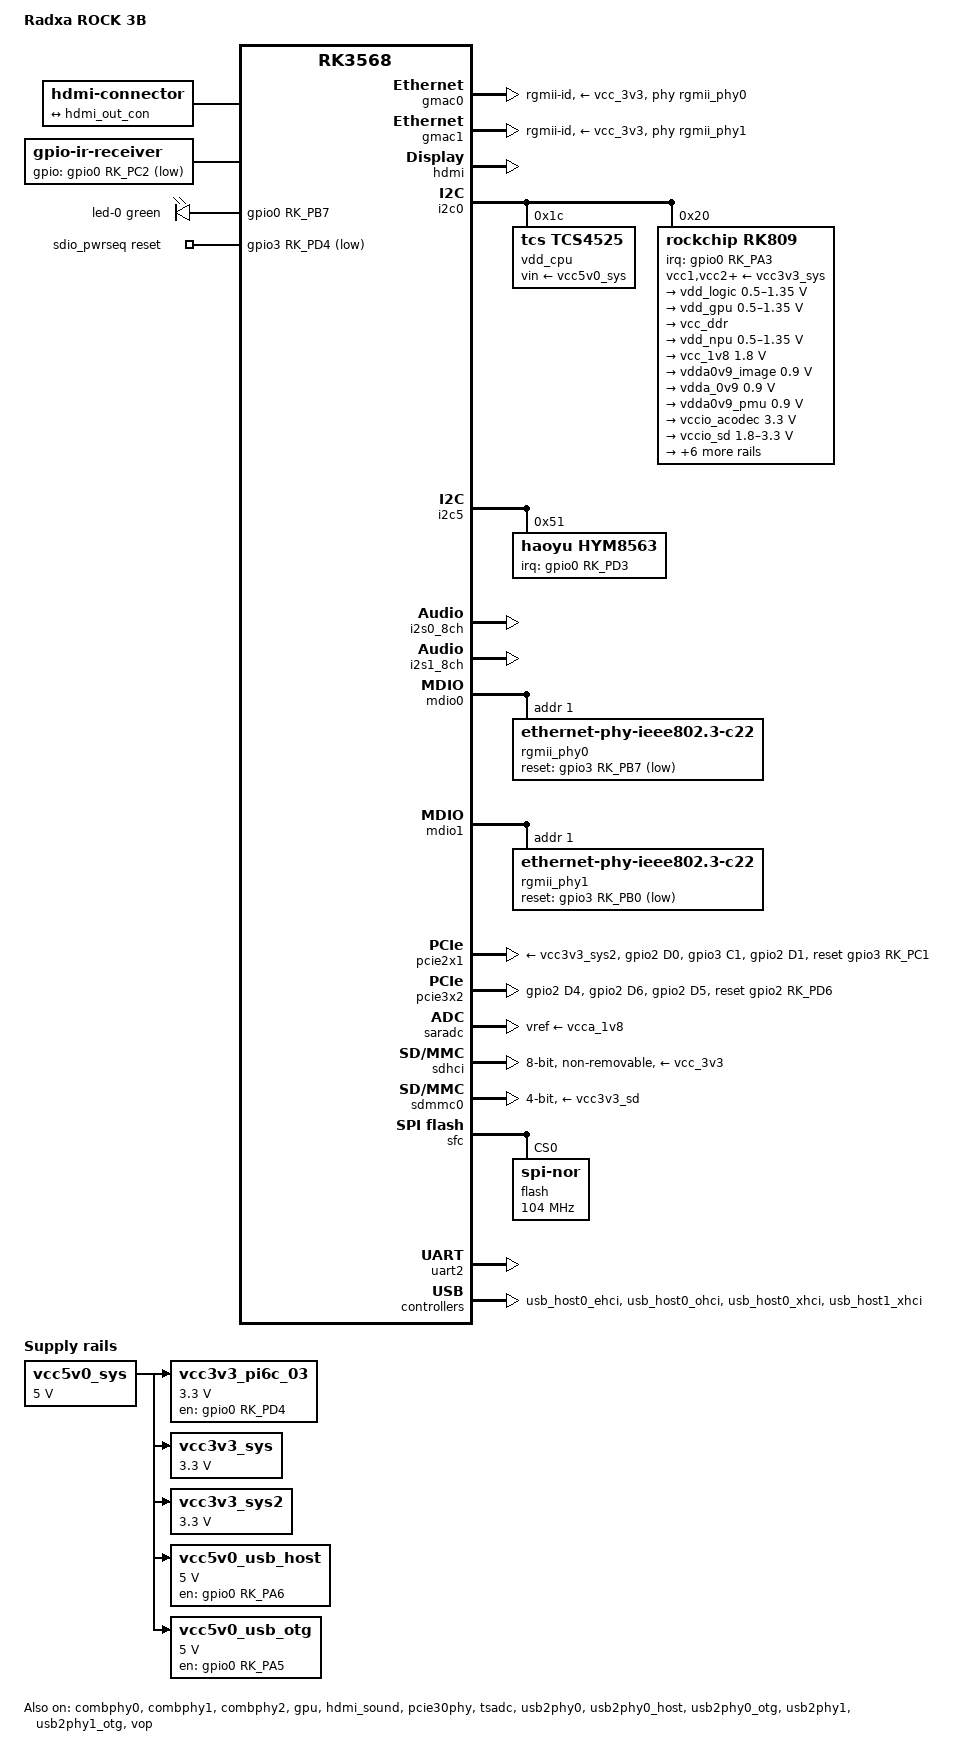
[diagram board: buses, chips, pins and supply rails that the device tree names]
// SPDX-License-Identifier: (GPL-2.0+ OR MIT)

/dts-v1/;

#include <dt-bindings/gpio/gpio.h>
#include <dt-bindings/leds/common.h>
#include <dt-bindings/pinctrl/rockchip.h>
#include <dt-bindings/soc/rockchip,vop2.h>
#include "rk3568.dtsi"

/ {
	model = "Radxa ROCK 3B";
	compatible = "radxa,rock-3b", "rockchip,rk3568";

	aliases {
		ethernet0 = &gmac0;
		ethernet1 = &gmac1;
		mmc0 = &sdhci;
		mmc1 = &sdmmc0;
		mmc2 = &sdmmc2;
	};

	chosen {
		stdout-path = "serial2:1500000n8";
	};

	hdmi-con {
		compatible = "hdmi-connector";
		type = "a";

		port {
			hdmi_con_in: endpoint {
				remote-endpoint = <&hdmi_out_con>;
			};
		};
	};

	ir-receiver {
		compatible = "gpio-ir-receiver";
		gpios = <&gpio0 RK_PC2 GPIO_ACTIVE_LOW>;
		pinctrl-names = "default";
		pinctrl-0 = <&pwm3_ir>;
	};

	leds {
		compatible = "gpio-leds";
		pinctrl-names = "default";
		pinctrl-0 = <&led>;

		led-0 {
			color = <LED_COLOR_ID_GREEN>;
			default-state = "on";
			function = LED_FUNCTION_HEARTBEAT;
			gpios = <&gpio0 RK_PB7 GPIO_ACTIVE_HIGH>;
			linux,default-trigger = "heartbeat";
		};
	};

	/* pi6c pcie clock generator */
	vcc3v3_pi6c_03: regulator-3v3-vcc-pi6c-03 {
		compatible = "regulator-fixed";
		enable-active-high;
		gpios = <&gpio0 RK_PD4 GPIO_ACTIVE_HIGH>;
		pinctrl-names = "default";
		pinctrl-0 = <&pcie_pwren_h>;
		regulator-name = "vcc3v3_pi6c_03";
		regulator-always-on;
		regulator-boot-on;
		regulator-min-microvolt = <3300000>;
		regulator-max-microvolt = <3300000>;
		startup-delay-us = <10000>;
		vin-supply = <&vcc5v0_sys>;
	};

	vcc3v3_sys: regulator-3v3-vcc-sys {
		compatible = "regulator-fixed";
		regulator-name = "vcc3v3_sys";
		regulator-always-on;
		regulator-boot-on;
		regulator-min-microvolt = <3300000>;
		regulator-max-microvolt = <3300000>;
		vin-supply = <&vcc5v0_sys>;
	};

	vcc3v3_sys2: regulator-3v3-vcc-sys2 {
		compatible = "regulator-fixed";
		regulator-name = "vcc3v3_sys2";
		regulator-always-on;
		regulator-boot-on;
		regulator-min-microvolt = <3300000>;
		regulator-max-microvolt = <3300000>;
		vin-supply = <&vcc5v0_sys>;
	};

	vcc5v0_sys: regulator-5v0-vcc-sys {
		compatible = "regulator-fixed";
		regulator-name = "vcc5v0_sys";
		regulator-always-on;
		regulator-boot-on;
		regulator-min-microvolt = <5000000>;
		regulator-max-microvolt = <5000000>;
	};

	vcc5v0_usb_host: regulator-5v0-vcc-usb-host {
		compatible = "regulator-fixed";
		enable-active-high;
		gpios = <&gpio0 RK_PA6 GPIO_ACTIVE_HIGH>;
		pinctrl-names = "default";
		pinctrl-0 = <&usb_host_pwren_h>;
		regulator-name = "vcc5v0_usb_host";
		regulator-min-microvolt = <5000000>;
		regulator-max-microvolt = <5000000>;
		vin-supply = <&vcc5v0_sys>;
	};

	vcc5v0_usb_otg: regulator-5v0-vcc-usb-otg {
		compatible = "regulator-fixed";
		enable-active-high;
		gpios = <&gpio0 RK_PA5 GPIO_ACTIVE_HIGH>;
		pinctrl-names = "default";
		pinctrl-0 = <&usb_otg_pwren_h>;
		regulator-name = "vcc5v0_usb_otg";
		regulator-min-microvolt = <5000000>;
		regulator-max-microvolt = <5000000>;
		vin-supply = <&vcc5v0_sys>;
	};

	sdio_pwrseq: sdio-pwrseq {
		compatible = "mmc-pwrseq-simple";
		clocks = <&rk809 1>;
		clock-names = "ext_clock";
		pinctrl-names = "default";
		pinctrl-0 = <&wifi_reg_on_h>;
		post-power-on-delay-ms = <100>;
		power-off-delay-us = <5000000>;
		reset-gpios = <&gpio3 RK_PD4 GPIO_ACTIVE_LOW>;
	};

	sound {
		compatible = "simple-audio-card";
		simple-audio-card,format = "i2s";
		simple-audio-card,name = "Analog RK809";
		simple-audio-card,mclk-fs = <256>;

		simple-audio-card,cpu {
			sound-dai = <&i2s1_8ch>;
		};

		simple-audio-card,codec {
			sound-dai = <&rk809>;
		};
	};
};

&combphy0 {
	status = "okay";
};

&combphy1 {
	status = "okay";
};

&combphy2 {
	status = "okay";
};

&cpu0 {
	cpu-supply = <&vdd_cpu>;
};

&cpu1 {
	cpu-supply = <&vdd_cpu>;
};

&cpu2 {
	cpu-supply = <&vdd_cpu>;
};

&cpu3 {
	cpu-supply = <&vdd_cpu>;
};

&gmac0 {
	assigned-clocks = <&cru SCLK_GMAC0_RX_TX>, <&cru SCLK_GMAC0>;
	assigned-clock-parents = <&cru SCLK_GMAC0_RGMII_SPEED>, <&cru CLK_MAC0_2TOP>;
	clock_in_out = "input";
	phy-handle = <&rgmii_phy0>;
	phy-mode = "rgmii-id";
	phy-supply = <&vcc_3v3>;
	pinctrl-names = "default";
	pinctrl-0 = <&gmac0_miim
		     &gmac0_tx_bus2
		     &gmac0_rx_bus2
		     &gmac0_rgmii_clk
		     &gmac0_rgmii_bus
		     &gmac0_clkinout>;
	status = "okay";
};

&gmac1 {
	assigned-clocks = <&cru SCLK_GMAC1_RX_TX>, <&cru SCLK_GMAC1>;
	assigned-clock-parents = <&cru SCLK_GMAC1_RGMII_SPEED>, <&cru CLK_MAC1_2TOP>;
	clock_in_out = "input";
	phy-handle = <&rgmii_phy1>;
	phy-mode = "rgmii-id";
	phy-supply = <&vcc_3v3>;
	pinctrl-names = "default";
	pinctrl-0 = <&gmac1m1_miim
		     &gmac1m1_tx_bus2
		     &gmac1m1_rx_bus2
		     &gmac1m1_rgmii_clk
		     &gmac1m1_rgmii_bus
		     &gmac1m1_clkinout>;
	status = "okay";
};

&gpu {
	mali-supply = <&vdd_gpu>;
	status = "okay";
};

&hdmi {
	avdd-0v9-supply = <&vdda0v9_image>;
	avdd-1v8-supply = <&vcca1v8_image>;
	status = "okay";
};

&hdmi_in {
	hdmi_in_vp0: endpoint {
		remote-endpoint = <&vp0_out_hdmi>;
	};
};

&hdmi_out {
	hdmi_out_con: endpoint {
		remote-endpoint = <&hdmi_con_in>;
	};
};

&hdmi_sound {
	status = "okay";
};

&i2c0 {
	status = "okay";

	vdd_cpu: regulator@1c {
		compatible = "tcs,tcs4525";
		reg = <0x1c>;
		fcs,suspend-voltage-selector = <1>;
		regulator-name = "vdd_cpu";
		regulator-always-on;
		regulator-boot-on;
		regulator-min-microvolt = <800000>;
		regulator-max-microvolt = <1150000>;
		regulator-ramp-delay = <2300>;
		vin-supply = <&vcc5v0_sys>;

		regulator-state-mem {
			regulator-off-in-suspend;
		};
	};

	rk809: pmic@20 {
		compatible = "rockchip,rk809";
		reg = <0x20>;
		assigned-clocks = <&cru I2S1_MCLKOUT_TX>;
		assigned-clock-parents = <&cru CLK_I2S1_8CH_TX>;
		#clock-cells = <1>;
		clocks = <&cru I2S1_MCLKOUT_TX>;
		clock-names = "mclk";
		clock-output-names = "rk809-clkout1", "rk809-clkout2";
		interrupt-parent = <&gpio0>;
		interrupts = <RK_PA3 IRQ_TYPE_LEVEL_LOW>;
		pinctrl-names = "default";
		pinctrl-0 = <&pmic_int_l>, <&i2s1m0_mclk>;
		#sound-dai-cells = <0>;
		system-power-controller;
		wakeup-source;

		vcc1-supply = <&vcc3v3_sys>;
		vcc2-supply = <&vcc3v3_sys>;
		vcc3-supply = <&vcc3v3_sys>;
		vcc4-supply = <&vcc3v3_sys>;
		vcc5-supply = <&vcc3v3_sys>;
		vcc6-supply = <&vcc3v3_sys>;
		vcc7-supply = <&vcc3v3_sys>;
		vcc8-supply = <&vcc3v3_sys>;
		vcc9-supply = <&vcc3v3_sys>;

		regulators {
			vdd_logic: DCDC_REG1 {
				regulator-name = "vdd_logic";
				regulator-always-on;
				regulator-boot-on;
				regulator-initial-mode = <0x2>;
				regulator-min-microvolt = <500000>;
				regulator-max-microvolt = <1350000>;
				regulator-ramp-delay = <6001>;

				regulator-state-mem {
					regulator-off-in-suspend;
				};
			};

			vdd_gpu: DCDC_REG2 {
				regulator-name = "vdd_gpu";
				regulator-always-on;
				regulator-boot-on;
				regulator-initial-mode = <0x2>;
				regulator-min-microvolt = <500000>;
				regulator-max-microvolt = <1350000>;
				regulator-ramp-delay = <6001>;

				regulator-state-mem {
					regulator-off-in-suspend;
				};
			};

			vcc_ddr: DCDC_REG3 {
				regulator-name = "vcc_ddr";
				regulator-always-on;
				regulator-boot-on;
				regulator-initial-mode = <0x2>;

				regulator-state-mem {
					regulator-on-in-suspend;
				};
			};

			vdd_npu: DCDC_REG4 {
				regulator-name = "vdd_npu";
				regulator-initial-mode = <0x2>;
				regulator-min-microvolt = <500000>;
				regulator-max-microvolt = <1350000>;
				regulator-ramp-delay = <6001>;

				regulator-state-mem {
					regulator-off-in-suspend;
				};
			};

			vcc_1v8: DCDC_REG5 {
				regulator-name = "vcc_1v8";
				regulator-always-on;
				regulator-boot-on;
				regulator-min-microvolt = <1800000>;
				regulator-max-microvolt = <1800000>;

				regulator-state-mem {
					regulator-off-in-suspend;
				};
			};

			vdda0v9_image: LDO_REG1 {
				regulator-name = "vdda0v9_image";
				regulator-min-microvolt = <900000>;
				regulator-max-microvolt = <900000>;

				regulator-state-mem {
					regulator-off-in-suspend;
				};
			};

			vdda_0v9: LDO_REG2 {
				regulator-name = "vdda_0v9";
				regulator-always-on;
				regulator-boot-on;
				regulator-min-microvolt = <900000>;
				regulator-max-microvolt = <900000>;

				regulator-state-mem {
					regulator-off-in-suspend;
				};
			};

			vdda0v9_pmu: LDO_REG3 {
				regulator-name = "vdda0v9_pmu";
				regulator-always-on;
				regulator-boot-on;
				regulator-min-microvolt = <900000>;
				regulator-max-microvolt = <900000>;

				regulator-state-mem {
					regulator-on-in-suspend;
					regulator-suspend-microvolt = <900000>;
				};
			};

			vccio_acodec: LDO_REG4 {
				regulator-name = "vccio_acodec";
				regulator-always-on;
				regulator-boot-on;
				regulator-min-microvolt = <3300000>;
				regulator-max-microvolt = <3300000>;

				regulator-state-mem {
					regulator-off-in-suspend;
				};
			};

			vccio_sd: LDO_REG5 {
				regulator-name = "vccio_sd";
				regulator-always-on;
				regulator-boot-on;
				regulator-min-microvolt = <1800000>;
				regulator-max-microvolt = <3300000>;

				regulator-state-mem {
					regulator-off-in-suspend;
				};
			};

			vcc3v3_pmu: LDO_REG6 {
				regulator-name = "vcc3v3_pmu";
				regulator-always-on;
				regulator-boot-on;
				regulator-min-microvolt = <3300000>;
				regulator-max-microvolt = <3300000>;

				regulator-state-mem {
					regulator-on-in-suspend;
					regulator-suspend-microvolt = <3300000>;
				};
			};

			vcca_1v8: LDO_REG7 {
				regulator-name = "vcca_1v8";
				regulator-always-on;
				regulator-boot-on;
				regulator-min-microvolt = <1800000>;
				regulator-max-microvolt = <1800000>;

				regulator-state-mem {
					regulator-off-in-suspend;
				};
			};

			vcca1v8_pmu: LDO_REG8 {
				regulator-name = "vcca1v8_pmu";
				regulator-always-on;
				regulator-boot-on;
				regulator-min-microvolt = <1800000>;
				regulator-max-microvolt = <1800000>;

				regulator-state-mem {
					regulator-on-in-suspend;
					regulator-suspend-microvolt = <1800000>;
				};
			};

			vcca1v8_image: LDO_REG9 {
				regulator-name = "vcca1v8_image";
				regulator-min-microvolt = <1800000>;
				regulator-max-microvolt = <1800000>;

				regulator-state-mem {
					regulator-off-in-suspend;
				};
			};

			vcc_3v3: SWITCH_REG1 {
				regulator-name = "vcc_3v3";
				regulator-always-on;
				regulator-boot-on;

				regulator-state-mem {
					regulator-off-in-suspend;
				};
			};

			vcc3v3_sd: SWITCH_REG2 {
				regulator-name = "vcc3v3_sd";
				regulator-always-on;
				regulator-boot-on;

				regulator-state-mem {
					regulator-off-in-suspend;
				};
			};
		};
	};
};

&i2c5 {
	status = "okay";

	hym8563: rtc@51 {
		compatible = "haoyu,hym8563";
		reg = <0x51>;
		interrupt-parent = <&gpio0>;
		interrupts = <RK_PD3 IRQ_TYPE_LEVEL_LOW>;
		#clock-cells = <0>;
		clock-output-names = "rtcic_32kout";
		pinctrl-names = "default";
		pinctrl-0 = <&rtcic_int_l>;
		wakeup-source;
	};
};

&i2s0_8ch {
	status = "okay";
};

&i2s1_8ch {
	pinctrl-names = "default";
	pinctrl-0 = <&i2s1m0_sclktx
		     &i2s1m0_lrcktx
		     &i2s1m0_sdi0
		     &i2s1m0_sdo0>;
	rockchip,trcm-sync-tx-only;
	status = "okay";
};

&mdio0 {
	rgmii_phy0: ethernet-phy@1 {
		compatible = "ethernet-phy-ieee802.3-c22";
		reg = <1>;
		reset-assert-us = <20000>;
		reset-deassert-us = <50000>;
		reset-gpios = <&gpio3 RK_PB7 GPIO_ACTIVE_LOW>;
	};
};

&mdio1 {
	rgmii_phy1: ethernet-phy@1 {
		compatible = "ethernet-phy-ieee802.3-c22";
		reg = <1>;
		reset-assert-us = <20000>;
		reset-deassert-us = <50000>;
		reset-gpios = <&gpio3 RK_PB0 GPIO_ACTIVE_LOW>;
	};
};

&pcie2x1 {
	pinctrl-names = "default";
	pinctrl-0 = <&pcie20m1_pins>;
	reset-gpios = <&gpio3 RK_PC1 GPIO_ACTIVE_HIGH>;
	vpcie3v3-supply = <&vcc3v3_sys2>;
	status = "okay";
};

&pcie30phy {
	status = "okay";
};

&pcie3x2 {
	pinctrl-names = "default";
	pinctrl-0 = <&pcie30x2m1_pins>;
	reset-gpios = <&gpio2 RK_PD6 GPIO_ACTIVE_HIGH>;
	status = "okay";
};

&pinctrl {
	bluetooth {
		bt_reg_on_h: bt-reg-on-h {
			rockchip,pins = <4 RK_PB2 RK_FUNC_GPIO &pcfg_pull_none>;
		};

		bt_wake_host_h: bt-wake-host-h {
			rockchip,pins = <4 RK_PB4 RK_FUNC_GPIO &pcfg_pull_none>;
		};

		host_wake_bt_h: host-wake-bt-h {
			rockchip,pins = <4 RK_PB5 RK_FUNC_GPIO &pcfg_pull_none>;
		};
	};

	ir-receiver {
		pwm3_ir: pwm3-ir {
			rockchip,pins = <0 RK_PC2 RK_FUNC_GPIO &pcfg_pull_none>;
		};
	};

	leds {
		led: led {
			rockchip,pins = <0 RK_PB7 RK_FUNC_GPIO &pcfg_pull_none>;
		};
	};

	pcie {
		pcie_pwren_h: pcie-pwren-h {
			rockchip,pins = <0 RK_PD4 RK_FUNC_GPIO &pcfg_pull_none>;
		};
	};

	pcie20 {
		pcie20m1_pins: pcie20m1-pins {
			rockchip,pins =
				<2 RK_PD0 4 &pcfg_pull_none>,
				<3 RK_PC1 RK_FUNC_GPIO &pcfg_pull_none>,
				<2 RK_PD1 4 &pcfg_pull_none>;
		};
	};

	pcie30x2 {
		pcie30x2m1_pins: pcie30x2m1-pins {
			rockchip,pins =
				<2 RK_PD4 4 &pcfg_pull_none>,
				<2 RK_PD6 RK_FUNC_GPIO &pcfg_pull_none>,
				<2 RK_PD5 4 &pcfg_pull_none>;
		};
	};

	pmic {
		pmic_int_l: pmic-int-l {
			rockchip,pins = <0 RK_PA3 RK_FUNC_GPIO &pcfg_pull_up>;
		};
	};

	rtc {
		rtcic_int_l: rtcic-int-l {
			rockchip,pins = <0 RK_PD3 RK_FUNC_GPIO &pcfg_pull_up>;
		};
	};

	usb {
		usb_host_pwren_h: usb-host-pwren-h {
			rockchip,pins = <0 RK_PA6 RK_FUNC_GPIO &pcfg_pull_none>;
		};

		usb_otg_pwren_h: usb-otg-pwren-h {
			rockchip,pins = <0 RK_PA5 RK_FUNC_GPIO &pcfg_pull_none>;
		};
	};

	wifi {
		wifi_reg_on_h: wifi-reg-on-h {
			rockchip,pins = <3 RK_PD4 RK_FUNC_GPIO &pcfg_pull_none>;
		};

		wifi_wake_host_h: wifi-wake-host-h {
			rockchip,pins = <3 RK_PD5 RK_FUNC_GPIO &pcfg_pull_none>;
		};
	};
};

&pmu_io_domains {
	pmuio1-supply = <&vcc3v3_pmu>;
	pmuio2-supply = <&vcc3v3_pmu>;
	vccio1-supply = <&vccio_acodec>;
	vccio2-supply = <&vcc_1v8>;
	vccio3-supply = <&vccio_sd>;
	vccio4-supply = <&vcc_1v8>;
	vccio5-supply = <&vcc_3v3>;
	vccio6-supply = <&vcc_1v8>;
	vccio7-supply = <&vcc_3v3>;
	status = "okay";
};

&saradc {
	vref-supply = <&vcca_1v8>;
	status = "okay";
};

&sdhci {
	bus-width = <8>;
	cap-mmc-highspeed;
	max-frequency = <200000000>;
	mmc-hs200-1_8v;
	non-removable;
	pinctrl-names = "default";
	pinctrl-0 = <&emmc_bus8 &emmc_clk &emmc_cmd &emmc_datastrobe>;
	vmmc-supply = <&vcc_3v3>;
	vqmmc-supply = <&vcc_1v8>;
	status = "okay";
};

&sdmmc0 {
	bus-width = <4>;
	cap-sd-highspeed;
	disable-wp;
	pinctrl-names = "default";
	pinctrl-0 = <&sdmmc0_bus4 &sdmmc0_clk &sdmmc0_cmd &sdmmc0_det>;
	vmmc-supply = <&vcc3v3_sd>;
	vqmmc-supply = <&vccio_sd>;
	status = "okay";
};

&sdmmc2 {
	bus-width = <4>;
	cap-sd-highspeed;
	cap-sdio-irq;
	keep-power-in-suspend;
	mmc-pwrseq = <&sdio_pwrseq>;
	non-removable;
	pinctrl-names = "default";
	pinctrl-0 = <&sdmmc2m0_bus4 &sdmmc2m0_clk &sdmmc2m0_cmd>;
	sd-uhs-sdr104;
	vmmc-supply = <&vcc3v3_sys2>;
	vqmmc-supply = <&vcc_1v8>;
	status = "disabled";
};

&sfc {
	#address-cells = <1>;
	#size-cells = <0>;
	status = "okay";

	flash@0 {
		compatible = "jedec,spi-nor";
		reg = <0>;
		spi-max-frequency = <104000000>;
		spi-rx-bus-width = <4>;
		spi-tx-bus-width = <1>;
	};
};

&tsadc {
	rockchip,hw-tshut-mode = <1>;
	rockchip,hw-tshut-polarity = <0>;
	status = "okay";
};

&uart2 {
	status = "okay";
};

&uart8 {
	pinctrl-names = "default";
	pinctrl-0 = <&uart8m0_xfer &uart8m0_ctsn &uart8m0_rtsn>;
	uart-has-rtscts;
	status = "disabled";
};

&usb_host0_ehci {
	status = "okay";
};

&usb_host0_ohci {
	status = "okay";
};

&usb_host0_xhci {
	extcon = <&usb2phy0>;
	status = "okay";
};

&usb_host1_xhci {
	status = "okay";
};

&usb2phy0 {
	status = "okay";
};

&usb2phy0_host {
	phy-supply = <&vcc5v0_usb_host>;
	status = "okay";
};

&usb2phy0_otg {
	phy-supply = <&vcc5v0_usb_otg>;
	status = "okay";
};

&usb2phy1 {
	status = "okay";
};

&usb2phy1_otg {
	phy-supply = <&vcc5v0_usb_host>;
	status = "okay";
};

&vop {
	assigned-clocks = <&cru DCLK_VOP0>, <&cru DCLK_VOP1>;
	assigned-clock-parents = <&pmucru PLL_HPLL>, <&cru PLL_VPLL>;
	status = "okay";
};

&vop_mmu {
	status = "okay";
};

&vp0 {
	vp0_out_hdmi: endpoint@ROCKCHIP_VOP2_EP_HDMI0 {
		reg = <ROCKCHIP_VOP2_EP_HDMI0>;
		remote-endpoint = <&hdmi_in_vp0>;
	};
};
